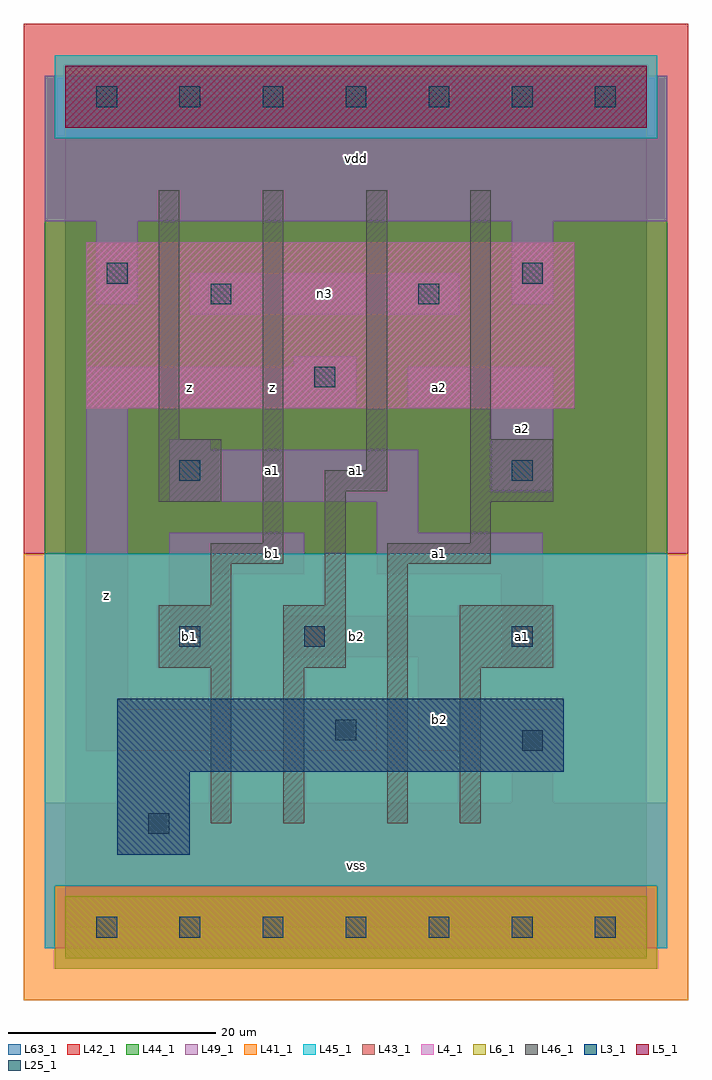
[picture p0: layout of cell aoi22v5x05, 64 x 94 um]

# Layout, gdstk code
import gdstk
lib = gdstk.Library(unit=1e-6, precision=1e-09)
def R(c, l, rs):  # rectangles x0, y0, x1, y1
    for r in rs: c.add(gdstk.rectangle(r[:2], r[2:], *l))
def A(c, l, x, y, w, h, nx, ny, dx, dy):  # array of equal rectangles
    R(c, l, [(x+i*dx, y+j*dy, x+i*dx+w, y+j*dy+h) for i in range(nx) for j in range(ny)])
L3_1 = (3, 1)
L4_1 = (4, 1)
L5_1 = (5, 1)
L6_1 = (6, 1)
L25_1 = (25, 1)
L41_1 = (41, 1)
L42_1 = (42, 1)
L43_1 = (43, 1)
L44_1 = (44, 1)
L45_1 = (45, 1)
L46_1 = (46, 1)
L49_1 = (49, 1)
L63_1 = (63, 1)

aoi22v5x05 = lib.new_cell('aoi22v5x05')
R(aoi22v5x05, L3_1, [(5,7,12,15), (5,15,48,22)])
R(aoi22v5x05, L4_1, [(2,50,49,66)])
R(aoi22v5x05, L5_1, [(0,77,56,83)])
R(aoi22v5x05, L6_1, [(0,-3,56,3), (0,-3,56,3)])
A(aoi22v5x05, L25_1, 3, -1, 2, 2, 7, 2, 8, 80)
R(aoi22v5x05, L25_1, [(8,9,10,11), (44,17,46,19), (26,18,28,20), (11,27,13,29), (23,27,25,29), (43,27,45,29), (11,43,13,45), (43,43,45,45), (24,52,26,54), (14,60,16,62), (34,60,36,62), (4,62,6,64), (44,62,46,64)])
R(aoi22v5x05, L41_1, [(-4,-7,60,36)])
R(aoi22v5x05, L42_1, [(-4,36,60,87)])
R(aoi22v5x05, L43_1, [(0,-3,56,3), (5,7,12,15), (5,15,48,22), (2,50,49,66), (0,77,56,83)])
R(aoi22v5x05, L44_1, [(-1,-4,57,4), (-2,36,58,76), (-2,76,-1,82), (57,76,58,82)])
R(aoi22v5x05, L45_1, [(-2,-2,-1,4), (57,-2,58,4), (-2,4,58,36), (-1,76,57,84)])
R(aoi22v5x05, L46_1, [(14,10,16,25), (21,10,23,25), (31,10,33,35), (38,10,40,25), (9,25,16,31), (21,25,27,31), (38,25,47,31), (14,31,16,35), (25,31,27,42), (14,35,21,37), (31,35,41,37), (19,37,21,71), (39,37,41,41), (9,41,15,47), (39,41,47,47), (25,42,31,44), (29,44,31,71), (9,47,11,71), (39,47,41,71)])
R(aoi22v5x05, L49_1, [(-2,-2,58,12), (43,12,47,21), (2,17,30,21), (34,17,38,26), (2,21,6,50), (10,25,14,34), (42,25,46,34), (21,26,38,30), (10,34,23,38), (30,34,46,38), (30,38,34,41), (10,41,34,46), (41,42,47,50), (10,46,14,47), (2,50,28,54), (33,50,47,54), (22,54,28,55), (12,59,38,63), (3,60,7,68), (43,60,47,68), (-2,68,58,82)])
R(aoi22v5x05, L63_1, [(0,0,56,80)])
aoi22v5x05.add(gdstk.Label('z', (4,32), layer=49, texttype=1))
aoi22v5x05.add(gdstk.Label('b1', (12,28), layer=49, texttype=1))
aoi22v5x05.add(gdstk.Label('z', (12,52), layer=49, texttype=1))
aoi22v5x05.add(gdstk.Label('vss', (28,6), layer=49, texttype=1))
aoi22v5x05.add(gdstk.Label('b2', (28,28), layer=49, texttype=1))
aoi22v5x05.add(gdstk.Label('b1', (20,36), layer=49, texttype=1))
aoi22v5x05.add(gdstk.Label('a1', (20,44), layer=49, texttype=1))
aoi22v5x05.add(gdstk.Label('a1', (28,44), layer=49, texttype=1))
aoi22v5x05.add(gdstk.Label('z', (20,52), layer=49, texttype=1))
aoi22v5x05.add(gdstk.Label('vdd', (28,74), layer=49, texttype=1))
aoi22v5x05.add(gdstk.Label('b2', (36,20), layer=49, texttype=1))
aoi22v5x05.add(gdstk.Label('a1', (44,28), layer=49, texttype=1))
aoi22v5x05.add(gdstk.Label('a1', (36,36), layer=49, texttype=1))
aoi22v5x05.add(gdstk.Label('a2', (44,48), layer=49, texttype=1))
aoi22v5x05.add(gdstk.Label('a2', (36,52), layer=49, texttype=1))
aoi22v5x05.add(gdstk.Label('n3', (25,61), layer=49, texttype=1))

lib.write_gds('aoi22v5x05.gds')
